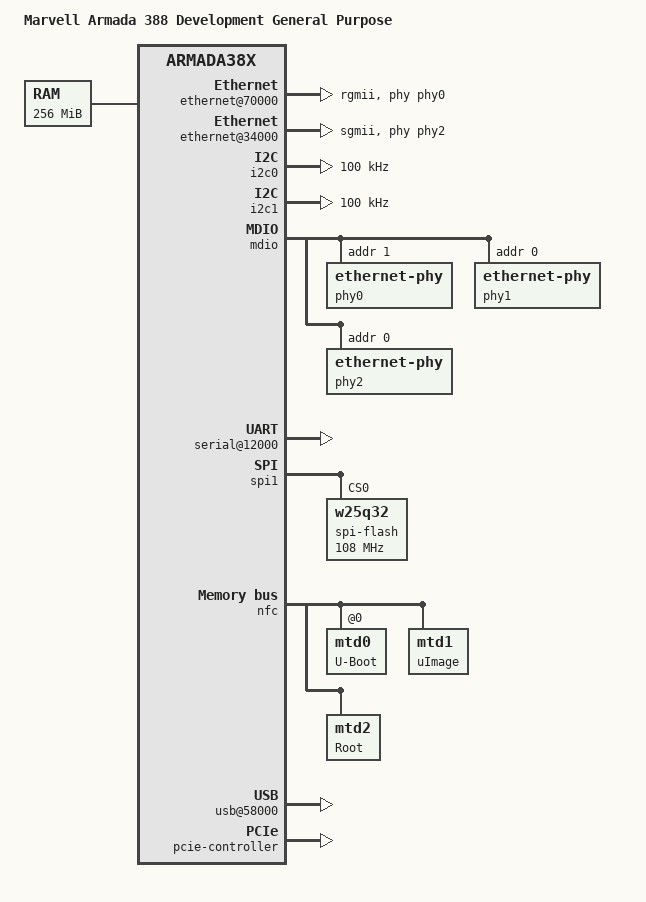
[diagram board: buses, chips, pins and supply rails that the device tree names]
/*
 * Device Tree file for Marvell Armada 388 AMC board
 * (DB-88F6828-AMC)
 *
 *  Copyright (C) 2014 Marvell
 *
 * Nadav Haklai <nadavh@marvell.com>
 *
 * This file is licensed under the terms of the GNU General Public
 * License version 2.  This program is licensed "as is" without any
 * warranty of any kind, whether express or implied.
 */

/dts-v1/;
#include <dt-bindings/gpio/gpio.h>
#include "armada-385-388.dtsi"

/ {
	model = "Marvell Armada 388 Development General Purpose";
	compatible = "marvell,a385-db-amc", "marvell,armada385", "marvell,armada38x";

	chosen {
		bootargs = "console=ttyS0,115200 earlyprintk";
	};

	memory {
		device_type = "memory";
		reg = <0x00000000 0x10000000>; /* 256 MB */
	};

	soc {
		internal-regs {
			ethernet@70000 {
				status = "okay";
				phy = <&phy0>;
				phy-mode = "rgmii";
			};

			ethernet@30000 {
				status = "disabled";
				phy = <&phy1>;
				phy-mode = "sgmii";
			};

			ethernet@34000 {
				status = "okay";
				phy = <&phy2>;
				phy-mode = "sgmii";
			};

			i2c0: i2c@11000 {
				status = "okay";
				clock-frequency = <100000>;
			};

			i2c1: i2c@11100 {
				status = "okay";
				clock-frequency = <100000>;
			};

			mdio {
				phy0: ethernet-phy@0 {
					reg = <1>;
				};

				phy1: ethernet-phy@1 {
					reg = <0>;
				};

				phy2: ethernet-phy@2 {
					reg = <0>;
				};

			};

			sdhci@d8000 {
				broken-cd;
				wp-inverted;
				bus-width = <8>;
				status = "disabled";
				no-1-8-v;
			};

			serial@12000 {
				status = "okay";
			};

			spi1: spi@10680 {
				status = "okay";

				spi-flash@0 {
					#address-cells = <1>;
					#size-cells = <0>;
					compatible = "w25q32";
					reg = <0>; /* Chip select 0 */
					spi-max-frequency = <108000000>;
					mtd0@00000000 {
						label = "U-Boot";
						reg = <0x00000000 0x00400000>;
						read-only;
					};

					mtd1@00400000 {
						label = "Root";
						reg = <0x00400000 0x00c00000>;
					};
				};
			};
			nfc: nand@d0000 {
				status = "okay";
				#address-cells = <0x00000001>;
				#size-cells = <0x00000001>;
				nfc,nfc-mode = "normal";
				nfc,nfc-dma = <0x00000000>;
				nfc,nfc-width = <0x00000008>;
				nfc,ecc-type = <0x00000002>;
				nfc,num-cs = <0x00000001>;
				mtd0@00000000 {
					label = "U-Boot";
					reg = <0x00000000 0x00600000>;
					read-only;
				};
				mtd1@00600000 {
					label = "uImage";
					reg = <0x00600000 0x00400000>;
					read-only;
				};
				mtd2@00a00000 {
					label = "Root";
					reg = <0x00a00000 0x3f600000>;
				};
			};
			usb@58000 {
				status = "okay";
			};
			prestera {
			        compatible = "marvell,armada-prestera";
			        status = "okay";
			};
		};

		pcie-controller {
			status = "okay";
			/*
			 * The two PCIe units are accessible through
			 * standard PCIe slots on the board.
			 */
			pcie@1,0 {
				/* Port 0, Lane 0 */
				status = "okay";
			};
			pcie@2,0 {
				/* Port 1, Lane 0 */
				status = "disabled";
			};
		};
	};
};
